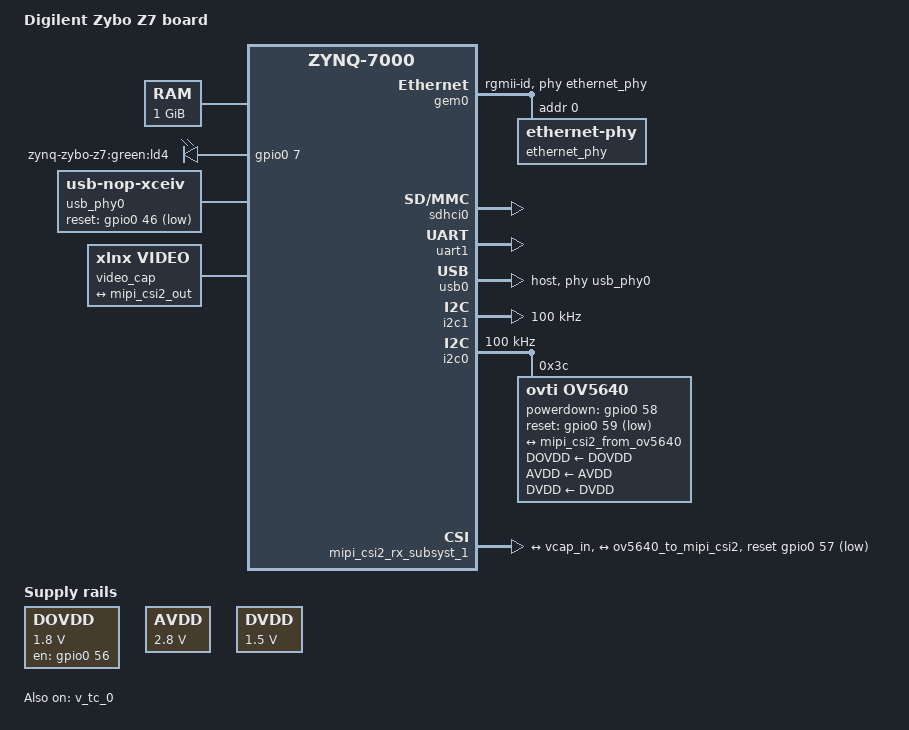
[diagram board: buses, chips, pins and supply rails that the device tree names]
// SPDX-License-Identifier: GPL-2.0+
/dts-v1/;
#include "zynq-7000.dtsi"
#include <dt-bindings/gpio/gpio.h>
#include <dt-bindings/media/xilinx-vip.h>
#include "/home/user/buildroot/src/deviceTree/pl.dtsi"
#include "/home/user/buildroot/src/deviceTree/pcw.dtsi"

/ {
	model = "Digilent Zybo Z7 board";
	compatible = "digilent,zynq-zybo-z7", "xlnx,zynq-7000";

	aliases {
		ethernet0 = &gem0;
		serial0 = &uart1;
	};

	memory@0 {
		device_type = "memory";
		reg = <0x0 0x40000000>;
	};

	chosen {
		bootargs = "";
		stdout-path = "serial0:115200n8";
	};

	gpio-leds {
		compatible = "gpio-leds";

		ld4 {
			label = "zynq-zybo-z7:green:ld4";
			gpios = <&gpio0 7 GPIO_ACTIVE_HIGH>;
		};
	};

	usb_phy0: phy0 {
		#phy-cells = <0>;
		compatible = "usb-nop-xceiv";
		reset-gpios = <&gpio0 46 GPIO_ACTIVE_LOW>;
	};

	pcam_clk: pcam_clk {
		#clock-cells = <0>;
		compatible = "fixed-clock";
		clock-frequency = <12000000>;
	};
	DOVDD: fixed_regulator_DOVDD@0 {
		compatible = "regulator-fixed";
		regulator-name = "DOVDD_reg";
		regulator-min-microvolt = <1800000>;
		regulator-max-microvolt = <1800000>;
		gpio = <&gpio0 56 GPIO_ACTIVE_HIGH>;
		startup-delay-us = <50000>;  
		regulator-always-on = "true";
		enable-active-high;
	};
	AVDD: fixed_regulator_AVDD@1 {
		compatible = "regulator-fixed";
		regulator-name = "AVDD_reg";
		regulator-min-microvolt = <2800000>;
		regulator-max-microvolt = <2800000>;
		regulator-always-on = "true";
	};
	DVDD: fixed_regulator_DVDD@2 {
		compatible = "regulator-fixed";
		regulator-name = "DVDD_reg";
		regulator-min-microvolt = <1500000>;
		regulator-max-microvolt = <1500000>;
		regulator-always-on = "true";
	};

};

&clkc {
	ps-clk-frequency = <33333333>;
};

&gem0 {
	status = "okay";
	phy-mode = "rgmii-id";
	phy-handle = <&ethernet_phy>;

	ethernet_phy: ethernet-phy@0 {
		reg = <0>;
		device_type = "ethernet-phy";
	};
};

&sdhci0 {
	status = "okay";
};

&uart1 {
	status = "okay";
};

&usb0 {
	status = "okay";
	dr_mode = "host";
	usb-phy = <&usb_phy0>;
};

&i2c1 {
	clock-frequency = <100000>;
	status = "okay";
};

&i2c0 {
	clock-frequency = <100000>;
	status = "okay";
	ov5640: camera@3c {
		compatible = "ovti,ov5640";
		reg = <0x3c>;
		clocks = <&pcam_clk>;
		clock-names = "xclk";
		DOVDD-supply = <&DOVDD>; /* 1.8v */
		AVDD-supply = <&AVDD>;  /* 2.8v */
		DVDD-supply = <&DVDD>;  /* 1.5v */

		powerdown-gpios = <&gpio0 58 GPIO_ACTIVE_HIGH>;
		reset-gpios = <&gpio0 59 GPIO_ACTIVE_LOW>;
		port {
			ov5640_to_mipi_csi2: endpoint {
				remote-endpoint = <&mipi_csi2_from_ov5640>;
				clock-lanes = <0>;
				data-lanes = <1 2>;
			};
		};
	};
};


&mipi_csi2_rx_subsyst_1 {
	compatible = "xlnx,mipi-csi2-rx-subsystem-5.0";
	clock-names = "lite_aclk", "dphy_clk_200M", "video_aclk";
	reset-gpios = <&gpio0 57 GPIO_ACTIVE_LOW>;
	ports {
		#address-cells = <1>;
		#size-cells = <0>;

		port@0 {
			reg = <0>;
			xlnx,video-format = <XVIP_VF_YUV_422>;
			xlnx,video-width = <8>;
			mipi_csi2_out: endpoint {
				remote-endpoint = <&vcap_in>;
			};
		};
		port@1 {
			reg = <1>;
			xlnx,video-format = <XVIP_VF_YUV_422>;
			xlnx,video-width = <8>;
			mipi_csi2_from_ov5640: endpoint {
				data-lanes = <1 2>;
				remote-endpoint = <&ov5640_to_mipi_csi2>;
			};

		};

	};
};


&v_frmbuf_wr_0 {
	reset-gpios = <&gpio0 54 GPIO_ACTIVE_LOW>;
};

&axi_dynclk_0 {
	compatible = "digilent,axi-dynclk";
	#clock-cells = <0>;
	clocks = <&clkc 15>;
};

&axi_vdma_0 {
	dma-ranges = <0x00000000 0x00000000 0x40000000>;
};
&v_tc_0 {
	compatible = "xlnx,v-tc-5.01.a";
	status = "okay";
};


&amba_pl {
	encoder_0: digilent_encoder {
		compatible = "digilent,drm-encoder";
		digilent,fmax = <150000>;
		digilent,edid-i2c = <&i2c1>;
	};

	xilinx_drm {
		compatible = "xlnx,drm";
		xlnx,vtc = <&v_tc_0>;
		xlnx,connector-type = "HDMIA";
		xlnx,encoder-slave = <&encoder_0>;
		clocks = <&axi_dynclk_0>;
		planes {
			xlnx,pixel-format = "rgb888";
			plane0 {
				dmas = <&axi_vdma_0 0>;
				dma-names = "dma0";
			};
		};
	};


	video_cap {
		compatible = "xlnx,video";
		dmas = <&v_frmbuf_wr_0 0>;
		dma-names = "port0";

		ports {
			#address-cells = <1>;
			#size-cells = <0>;

			port@0 {
				reg = <0>;
				direction = "input";
				vcap_in: endpoint {
					remote-endpoint = <&mipi_csi2_out>;
				};
			};
		};
	};
};
